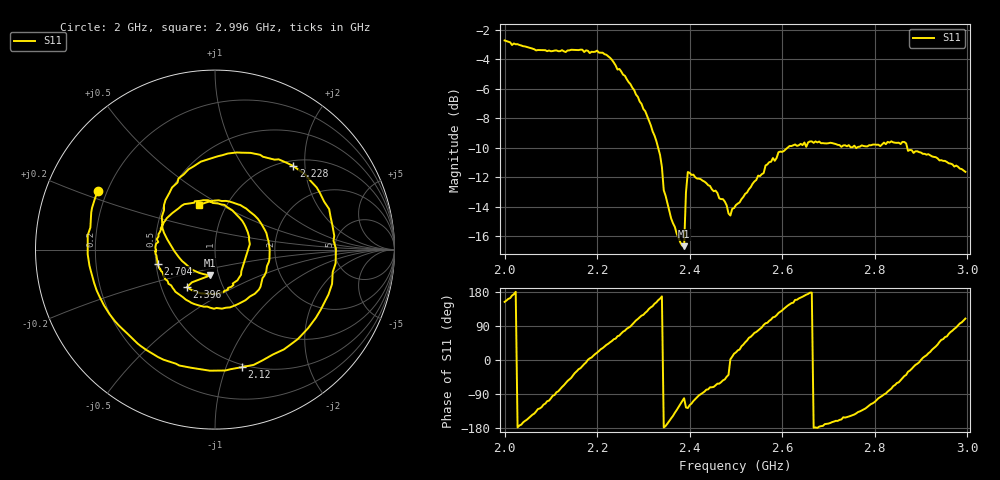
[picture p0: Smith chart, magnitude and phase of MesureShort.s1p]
# MHz S MA R 50.0
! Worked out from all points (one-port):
!   250 points, 2 GHz to 2.996 GHz, reference 50 ohm
!   lowest |S11| = -16.7 dB at 2.388 GHz (marker M1), VSWR 1.34, Z = 45.4 - j13.4 ohm
!   |S11| at or under -10 dB: 2.332 GHz to 2.611 GHz (279.5 MHz wide, 11.3 % of centre); 2.759503 GHz to 2.760972 GHz (1.469 MHz wide, 0.0532 % of centre); 2.87 GHz to end of sweep
!   S11 on the Smith chart (normalised r, x): 2 GHz: 0.16, +0.23; 2.12 GHz: 0.48, -1.14; 2.228 GHz: 1.11, +1.74; 2.396 GHz: 0.67, -0.30; 2.704 GHz: 0.51, -0.09; 2.996 GHz: 0.75, +0.40
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2000  0.7306 153.4
2028  0.7098 -177.9
2052  0.6921 -153.3
2084  0.6776 -117.9
2120  0.6719 -77.0
2128  0.6715 -66.7
2152  0.6784 -34.1
2176  0.6762 -6.5
2200  0.675 19.5
2228  0.6379 46.8
2252  0.574 69.9
2280  0.4964 99.1
2312  0.3906 134.9
2344  0.2272 -178.1
2376  0.1567 -124.0
2388  0.1469 -100.9
2396  0.2619 -126.7
2476  0.208 -51.2
2500  0.2025 20.1
2564  0.2756 97.0
2624  0.3227 151.2
2704  0.3291 -166.1
2748  0.3177 -147.4
2828  0.3313 -83.4
2872  0.3088 -31.0
2912  0.2998 12.5
2944  0.2873 53.1
2996  0.2623 109.3
